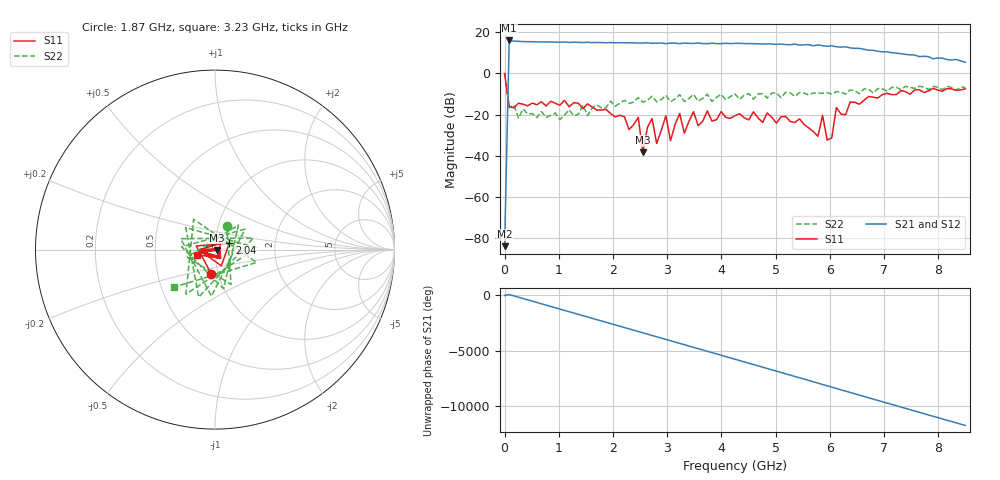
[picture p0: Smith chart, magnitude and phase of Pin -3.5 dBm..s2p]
! RsaToolbox (C) 2013 Rohde & Schwarz America
! Number of points: 101
! Number of ports: 2
! Balanced ports?: 0
# Hz S RI R 50
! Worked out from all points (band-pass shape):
!   101 points, 9 kHz to 8.5 GHz, reference 50 ohm
!   highest |S21| = 16.04 dB at 85.01 MHz (marker M1); lowest = -83.8 dB at 9 kHz (marker M2)
!   |S21| within 3 dB of the highest: 82.46 MHz to 6.111 GHz (6.028 GHz wide, 195 % of centre)
!   lowest |S11| = -38.3 dB at 2.55 GHz (marker M3), VSWR 1.02, Z = 51.2 - j0.281 ohm
!   |S11| at or under -10 dB: 52.98 MHz to 7.003 GHz (6.95 GHz wide, 197 % of centre); 7.105 GHz to 7.236 GHz (130.7 MHz wide, 1.82 % of centre); 7.479887 GHz to 7.480068 GHz (180.5 kHz wide, 0.00241 % of centre)
!   |S22| runs from -22.4 to 0.1 dB; largest |S21 - S12| = 0
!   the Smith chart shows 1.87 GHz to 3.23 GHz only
!   S11 on the Smith chart (normalised r, x): 1.87 GHz: 0.93, -0.25; 2.04 GHz: 1.17, +0.09; 3.23 GHz: 0.81, -0.05
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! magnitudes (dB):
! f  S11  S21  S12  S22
! 9 kHz  0.0  -83.8  -83.8  0.1
! 85.01 MHz  -16.1  16.0  16.0  -16.6
! 1.445 GHz  -17.1  15.0  15.0  -15.3
! 1.87 GHz  -17.4  15.0  15.0  -16.6
! 2.04 GHz  -21.0  14.9  14.9  -15.9
! 2.465 GHz  -21.3  14.8  14.8  -11.7
! 2.55 GHz  -38.3  14.8  14.8  -14.0
! 2.72 GHz  -21.9  14.7  14.7  -11.1
! 2.805 GHz  -34.0  14.7  14.7  -13.8
! 2.89 GHz  -27.6  14.8  14.8  -12.7
! 2.975 GHz  -20.5  14.5  14.5  -10.6
! 3.06 GHz  -32.6  14.8  14.8  -13.7
! 3.23 GHz  -19.4  14.5  14.5  -10.2
! 3.315 GHz  -29.0  14.7  14.7  -13.6
! 3.485 GHz  -18.6  14.6  14.6  -10.2
! 4.25 GHz  -20.5  14.6  14.6  -9.9
! 5.695 GHz  -28.2  13.5  13.5  -9.5
! 5.865 GHz  -20.3  13.5  13.5  -9.6
! 6.035 GHz  -31.3  13.4  13.4  -10.1
! 6.12 GHz  -16.5  13.0  13.0  -8.8
! 7.14 GHz  -10.3  10.1  10.1  -6.8
! 8.5 GHz  -7.4  5.5  5.5  -6.7
